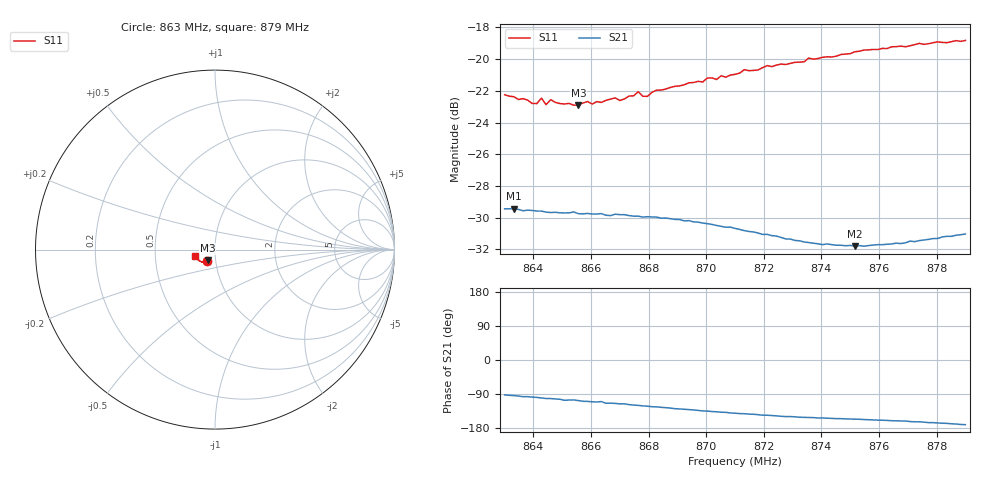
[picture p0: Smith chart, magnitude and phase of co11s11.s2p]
# HZ S RI R 50
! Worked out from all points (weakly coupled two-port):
!   101 points, 863 MHz to 879 MHz, reference 50 ohm
!   highest |S21| = -29.43 dB at 863.32 MHz (marker M1); lowest = -31.8 dB at 875.16 MHz (marker M2)
!   lowest |S11| = -22.9 dB at 865.56 MHz (marker M3), VSWR 1.15, Z = 45.9 - j5.48 ohm
!   |S11| at or under -10 dB: start of sweep to end of sweep
!   S12 and S22 are empty: the file has one direction only
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8.63e8  -0.0464 -0.0617  -0.00117 -0.0337  0 0  0 0
8.6332e8  -0.0454 -0.0611  -0.00231 -0.0337  0 0  0 0
8.6396e8  -0.0418 -0.0592  -0.00454 -0.033  0 0  0 0
8.6412e8  -0.0412 -0.0595  -0.00504 -0.0328  0 0  0 0
8.6428e8  -0.0426 -0.0621  -0.00581 -0.0327  0 0  0 0
8.6444e8  -0.0417 -0.0585  -0.00664 -0.0323  0 0  0 0
8.646e8  -0.0421 -0.0614  -0.00665 -0.0322  0 0  0 0
8.6556e8  -0.0399 -0.0594  -0.00956 -0.0311  0 0  0 0
8.6572e8  -0.0398 -0.0609  -0.0105 -0.0308  0 0  0 0
8.6604e8  -0.039 -0.0607  -0.0112 -0.0305  0 0  0 0
8.6684e8  -0.0402 -0.0639  -0.0135 -0.0295  0 0  0 0
8.67e8  -0.0388 -0.0631  -0.0141 -0.0291  0 0  0 0
8.6764e8  -0.0411 -0.0674  -0.0159 -0.0278  0 0  0 0
8.6796e8  -0.0398 -0.065  -0.0168 -0.027  0 0  0 0
8.6844e8  -0.0422 -0.0678  -0.0181 -0.0258  0 0  0 0
8.71e8  -0.0541 -0.0713  -0.0226 -0.0187  0 0  0 0
8.7132e8  -0.0566 -0.0733  -0.0226 -0.0178  0 0  0 0
8.718e8  -0.0582 -0.0718  -0.023 -0.0165  0 0  0 0
8.7372e8  -0.0715 -0.0698  -0.0232 -0.0123  0 0  0 0
8.7516e8  -0.0834 -0.0646  -0.0235 -0.0104  0 0  0 0
8.7644e8  -0.0932 -0.0571  -0.0246 -0.00886  0 0  0 0
8.79e8  -0.1091 -0.0347  -0.0277 -0.00455  0 0  0 0
